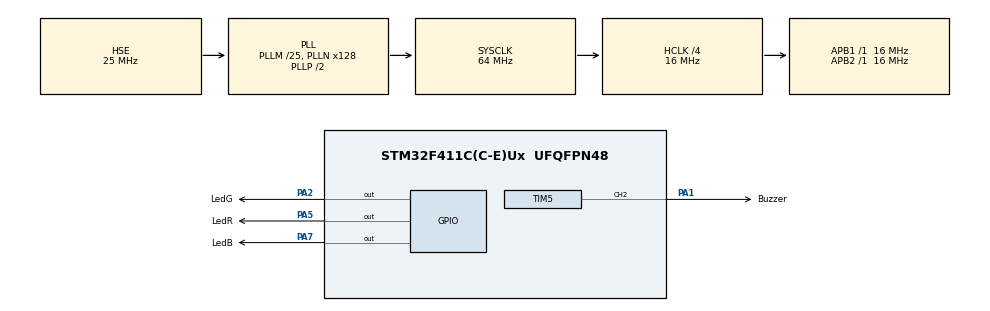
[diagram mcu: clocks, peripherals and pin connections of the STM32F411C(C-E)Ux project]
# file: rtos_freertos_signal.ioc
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FREERTOS.Events01=buzzerSignalEvent,Dynamic,NULL
FREERTOS.Tasks01=defaultTask,24,128,StartDefaultTask,Default,NULL,Dynamic,NULL,NULL;ledTask,8,128,LedTask,Default,NULL,Dynamic,NULL,NULL;buzzerTask,8,128,BuzzerTask,Default,NULL,Dynamic,NULL,NULL
FREERTOS.configUSE_NEWLIB_REENTRANT=1
Mcu.Family=STM32F4
Mcu.Name=STM32F411C(C-E)Ux
Mcu.Package=UFQFPN48
NVIC.PriorityGroup=NVIC_PRIORITYGROUP_4
NVIC.TIM2_IRQn=true\:15\:0\:false\:false\:true\:false\:false\:true\:true
NVIC.TimeBase=TIM2_IRQn
NVIC.TimeBaseIP=TIM2
PA1.GPIO_Label=Buzzer
PA1.Signal=S_TIM5_CH2
PA13.Mode=Serial_Wire
PA13.Signal=SYS_JTMS-SWDIO
PA14.Mode=Serial_Wire
PA14.Signal=SYS_JTCK-SWCLK
PA2.GPIO_Label=LedG
PA2.Signal=GPIO_Output
PA5.GPIO_Label=LedR
PA5.Signal=GPIO_Output
PA7.GPIO_Label=LedB
PA7.Signal=GPIO_Output
PH0\ -\ OSC_IN.Mode=HSE-External-Oscillator
PH0\ -\ OSC_IN.Signal=RCC_OSC_IN
PH1\ -\ OSC_OUT.Mode=HSE-External-Oscillator
PH1\ -\ OSC_OUT.Signal=RCC_OSC_OUT
ProjectManager.HeapSize=0x200
ProjectManager.StackSize=0x400
ProjectManager.TargetToolchain=STM32CubeIDE
RCC.48MHZClocksFreq_Value=32000000
RCC.AHBCLKDivider=RCC_SYSCLK_DIV4
RCC.AHBFreq_Value=16000000
RCC.APB1Freq_Value=16000000
RCC.APB1TimFreq_Value=16000000
RCC.APB2Freq_Value=16000000
RCC.APB2TimFreq_Value=16000000
RCC.CortexFreq_Value=16000000
RCC.HCLKFreq_Value=16000000
RCC.HSE_VALUE=25000000
RCC.HSI_VALUE=16000000
RCC.LSE_VALUE=32768
RCC.PLLM=25
RCC.PLLN=128
RCC.PLLSourceVirtual=RCC_PLLSOURCE_HSE
RCC.SYSCLKFreq_VALUE=64000000
RCC.SYSCLKSource=RCC_SYSCLKSOURCE_PLLCLK
RCC.VCOOutputFreq_Value=128000000
SH.S_TIM5_CH2.0=TIM5_CH2,PWM Generation2 CH2
TIM5.Channel-PWM\ Generation2\ CH2=TIM_CHANNEL_2
TIM5.Period=49
TIM5.Prescaler=1599
TIM5.Pulse-PWM\ Generation2\ CH2=25
VP_FREERTOS_VS_CMSIS_V2.Mode=CMSIS_V2
VP_SYS_VS_tim2.Mode=TIM2
board=custom

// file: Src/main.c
/* USER CODE BEGIN Header */
/**
  ******************************************************************************
  * @file           : main.c
  * @brief          : Main program body
  ******************************************************************************
  * @attention
  *
  * Copyright (c) 2026 STMicroelectronics.
  * All rights reserved.
  *
  * This software is licensed under terms that can be found in the LICENSE file
  * in the root directory of this software component.
  * If no LICENSE file comes with this software, it is provided AS-IS.
  *
  ******************************************************************************
  */
/* USER CODE END Header */
#include "main.h"
#include "cmsis_os.h"
#include "tim.h"
#include "gpio.h"

void SystemClock_Config(void);
void MX_FREERTOS_Init(void);

int main(void)
{

  /* MCU Configuration--------------------------------------------------------*/

  /* Reset of all peripherals, Initializes the Flash interface and the Systick. */
  HAL_Init();

  /* Configure the system clock */
  SystemClock_Config();

  /* Initialize all configured peripherals */
  MX_GPIO_Init();
  MX_TIM5_Init();

  /* Init scheduler */
  osKernelInitialize();  /* Call init function for freertos objects (in cmsis_os2.c) */
  MX_FREERTOS_Init();

  /* Start scheduler */
  osKernelStart();

  /* We should never get here as control is now taken by the scheduler */

  /* Infinite loop */
  while (1)
  {

  }
}

void SystemClock_Config(void)
{
  RCC_OscInitTypeDef RCC_OscInitStruct = {0};
  RCC_ClkInitTypeDef RCC_ClkInitStruct = {0};

  /** Configure the main internal regulator output voltage
  */
  __HAL_RCC_PWR_CLK_ENABLE();
  __HAL_PWR_VOLTAGESCALING_CONFIG(PWR_REGULATOR_VOLTAGE_SCALE1);

  /** Initializes the RCC Oscillators according to the specified parameters
  * in the RCC_OscInitTypeDef structure.
  */
  RCC_OscInitStruct.OscillatorType = RCC_OSCILLATORTYPE_HSE;
  RCC_OscInitStruct.HSEState = RCC_HSE_ON;
  RCC_OscInitStruct.PLL.PLLState = RCC_PLL_ON;
  RCC_OscInitStruct.PLL.PLLSource = RCC_PLLSOURCE_HSE;
  RCC_OscInitStruct.PLL.PLLM = 25;
  RCC_OscInitStruct.PLL.PLLN = 128;
  RCC_OscInitStruct.PLL.PLLP = RCC_PLLP_DIV2;
  RCC_OscInitStruct.PLL.PLLQ = 4;
  if (HAL_RCC_OscConfig(&RCC_OscInitStruct) != HAL_OK)
  {
    Error_Handler();
  }

  /** Initializes the CPU, AHB and APB buses clocks
  */
  RCC_ClkInitStruct.ClockType = RCC_CLOCKTYPE_HCLK|RCC_CLOCKTYPE_SYSCLK
                              |RCC_CLOCKTYPE_PCLK1|RCC_CLOCKTYPE_PCLK2;
  RCC_ClkInitStruct.SYSCLKSource = RCC_SYSCLKSOURCE_PLLCLK;
  RCC_ClkInitStruct.AHBCLKDivider = RCC_SYSCLK_DIV4;
  RCC_ClkInitStruct.APB1CLKDivider = RCC_HCLK_DIV1;
  RCC_ClkInitStruct.APB2CLKDivider = RCC_HCLK_DIV1;

  if (HAL_RCC_ClockConfig(&RCC_ClkInitStruct, FLASH_LATENCY_0) != HAL_OK)
  {
    Error_Handler();
  }
}

void HAL_TIM_PeriodElapsedCallback(TIM_HandleTypeDef *htim)
{
  if (htim->Instance == TIM2)
  {
    HAL_IncTick();
  }
}

void Error_Handler(void)
{
  __disable_irq();
  while (1)
  {
  }
}

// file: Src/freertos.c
/* USER CODE BEGIN Header */
/**
  ******************************************************************************
  * @file         : freertos.c
  * @brief  	  : Migração do projeto FreeRTOS (Pico - https://gitlab.unicamp.br/rtos_pico/freertos_signal)
  * 		 para a plataforma BlackPill, demonstrando o uso de Grupo de Eventos para condicionar a mudança
  * 		 de estado do Led RGB em função do bip do buzzer.
  * @author		  : Wu Shin Ting
  * @date		  : 01/04/2026
  ******************************************************************************
  * @attention
  *
  * Copyright (c) 2026 STMicroelectronics.
  * All rights reserved.
  *
  * This software is licensed under terms that can be found in the LICENSE file
  * in the root directory of this software component.
  * If no LICENSE file comes with this software, it is provided AS-IS.
  *
  ******************************************************************************
  * @details
  *
  * @section intro Introdução
  *
  * Este projeto demonstra a sincronização entre tarefas utilizando
  * **Event Flags (grupo de eventos)** do CMSIS-RTOS v2. O sistema é composto por
  * tarefas independentes que se comunicam por meio de eventos, evitando polling e
  * melhorando a eficiência do uso da CPU.
  *
  * @section eventflags Princípio de Operação – Event Flags
  *
  * Event Flags são um mecanismo de sincronização baseado em bits, onde:
  *
  * - cada bit representa um evento independente
  * - tarefas podem sinalizar eventos com:
  *      osEventFlagsSet()
  * - tarefas podem aguardar eventos com:
  *      osEventFlagsWait()
  *
  * Neste projeto, o evento @ref BUZZER_EVENT indica que o buzzer foi acionado
  * no seguinte fluxo
  * - BuzzerTask sinaliza o evento
  * - LedTask aguarda o evento (bloqueada)
  * - Ao receber, executa sua ação (troca de LED)
  *
  * Vantagens:
  * - Sincronização eficiente
  * - Baixo uso de CPU
  * - Comunicação simples entre tarefas
  *
  * @section config Configuração do Sistema
  *
  * @subsection tasks Tarefas
  * - defaultTask (osPriorityNormal)
  *   - Tarefa base do sistema com espera não-bloqueante
  *
  * - BuzzerTask (osPriorityLow)
  *   - Gera sinal PWM (200 Hz)
  *   - Ativo por 100 ms a cada 1 segundo
  *   - Sinaliza evento para sincronização
  *
  * - LedTask (osPriorityLow)
  *   - Aguarda evento do buzzer
  *   - Alterna LEDs (B → R → G)
  *
  * @subsection sync Sincronização
  *
  * - Mecanismo: Event Flags
  * - Objeto: buzzerSignalEventHandle
  * - Evento utilizado:
  *      - @ref BUZZER_EVENT
  *
  * @subsection hardware Hardware
  *
  * - TIM5 CH2 → geração de PWM (buzzer)
  * - GPIO → controle dos LEDs (Azul, Vermelho, Verde)
  *
  * @section flow Fluxo de Execução
  *
  * BuzzerTask                LedTask
  * -----------              -------------------
  * Liga buzzer
  * Aguarda 100 ms
  * Desliga buzzer
  * Sinaliza evento  ───────▶  Aguarda evento (bloqueada)
  * Aguarda 900 ms            Recebe evento
  *                           Alterna LED
  * @section notes Observações
  *
  * - A LedTask permanece bloqueada até receber evento (sem polling)
  * - O sistema é orientado a eventos (event-driven)
  * - Não há necessidade de Mutex neste caso
  *
  * - O uso de Event Flags pode ser expandido:
  *      - (1 << 1), (1 << 2), etc.
  *
  ******************************************************************************
  */
/* USER CODE END Header */

#include "FreeRTOS.h"
#include "task.h"
#include "main.h"
#include "cmsis_os.h"

/* USER CODE BEGIN Includes */
#include "main.h"
#include "tim.h"
/* USER CODE END Includes */

/* USER CODE BEGIN PD */
/**
  * @def    BUZZER_EVENT
  * @brief  Flag de evento utilizada para sinalizar a ativação do buzzer.
  *
  * @details
  * Este bit é utilizado com o mecanismo de Event Flags do CMSIS-RTOS
  * para comunicação entre tarefas.
  *
  * - Sinalizado pela BuzzerTask
  * - Aguardado pela LedTask
  *
  * Quando ativado, indica que o buzzer foi ligado e que a LedTask
  * deve alternar o estado do LED.
  */
#define BUZZER_EVENT   (1 << 0)
/* USER CODE END PD */

/* Definitions for defaultTask */
osThreadId_t defaultTaskHandle;
const osThreadAttr_t defaultTask_attributes = {
  .name = "defaultTask",
  .stack_size = 128 * 4,
  .priority = (osPriority_t) osPriorityNormal,
};
/* Definitions for ledTask */
osThreadId_t ledTaskHandle;
const osThreadAttr_t ledTask_attributes = {
  .name = "ledTask",
  .stack_size = 128 * 4,
  .priority = (osPriority_t) osPriorityLow,
};
/* Definitions for buzzerTask */
osThreadId_t buzzerTaskHandle;
const osThreadAttr_t buzzerTask_attributes = {
  .name = "buzzerTask",
  .stack_size = 128 * 4,
  .priority = (osPriority_t) osPriorityLow,
};
/* Definitions for buzzerSignalEvent */
osEventFlagsId_t buzzerSignalEventHandle;
const osEventFlagsAttr_t buzzerSignalEvent_attributes = {
  .name = "buzzerSignalEvent"
};

/* USER CODE BEGIN FunctionPrototypes */
void Buzzer_On(void);
void Buzzer_Off(void);
/* USER CODE END FunctionPrototypes */

void StartDefaultTask(void *argument);
void LedTask(void *argument);
void BuzzerTask(void *argument);

void MX_FREERTOS_Init(void); /* (MISRA C 2004 rule 8.1) */

void MX_FREERTOS_Init(void) {

  /* Create the thread(s) */
  /* creation of defaultTask */
  defaultTaskHandle = osThreadNew(StartDefaultTask, NULL, &defaultTask_attributes);

  /* creation of ledTask */
  ledTaskHandle = osThreadNew(LedTask, NULL, &ledTask_attributes);

  /* creation of buzzerTask */
  buzzerTaskHandle = osThreadNew(BuzzerTask, NULL, &buzzerTask_attributes);

  /* Create the event(s) */
  /* creation of buzzerSignalEvent */
  buzzerSignalEventHandle = osEventFlagsNew(&buzzerSignalEvent_attributes);

}

/* USER CODE BEGIN Header_StartDefaultTask */
/**
  * @brief  Tarefa padrão gerada automaticamente pelo CubeMX.
  *
  * @param  argument Ponteiro genérico (não utilizado).
  * @retval None
  *
  * @details
  * Esta tarefa é criada automaticamente pelo CubeMX com prioridade
  * padrão mais alta (osPriorityNormal). No contexto deste projeto, ela não possui
  * função lógica relevante, sendo mantida apenas para compatibilidade com a estrutura
  * gerada automaticamente.
  *
  * Para evitar interferência no comportamento das demais tarefas:
  * - Foi incluída uma chamada a osDelay()
  * - Isso faz com que a tarefa permaneça a maior parte do tempo bloqueada
  * - Reduz o impacto no escalonamento do sistema
  *
  * Dessa forma, permite que as tarefas de interesse (LedTask e BuzzerTask),
  * com mesma prioridade, definam o comportamento concorrente do sistema.
  *
  * @note Sem o osDelay(), esta tarefa poderia monopolizar a CPU devido à
  *       sua prioridade mais alta.
  */
/* USER CODE END Header_StartDefaultTask */
void StartDefaultTask(void *argument)
{
  /* USER CODE BEGIN StartDefaultTask */
  /* Loop infinito com espera não bloqueante */
  for(;;)
  {
    osDelay(10000);
  }
  /* USER CODE END StartDefaultTask */
}

/* USER CODE BEGIN Header_LedTask */
/**
* @brief Tarefa que alterna as cores do LED (B, R, G) ao receber evento do buzzer.
*
* @details
* Esta tarefa permanece bloqueada aguardando um evento sinalizado pela
* BuzzerTask. A cada evento recebido, alterna ciclicamente entre os LEDs:
* Azul → Vermelho → Verde → Azul...
*/
/* USER CODE END Header_LedTask */
void LedTask(void *argument)
{
  /* USER CODE BEGIN LedTask */

  uint8_t state = 0;

  /* Estado inicial: LED Azul ligado */
  HAL_GPIO_WritePin(LedB_GPIO_Port, LedB_Pin, GPIO_PIN_SET);
  HAL_GPIO_WritePin(LedR_GPIO_Port, LedR_Pin, GPIO_PIN_RESET);
  HAL_GPIO_WritePin(LedG_GPIO_Port, LedG_Pin, GPIO_PIN_RESET);

  for(;;)
  {
    /* Aguarda evento do buzzer */
    osEventFlagsWait(buzzerSignalEventHandle,
                     BUZZER_EVENT,
                     osFlagsWaitAny,
                     osWaitForever);

    /* Alterna estado */
    state = (state + 1) % 3;

    /* Atualiza LEDs */
    switch(state)
    {
      case 0: // Azul
        HAL_GPIO_WritePin(LedB_GPIO_Port, LedB_Pin, GPIO_PIN_SET);
        HAL_GPIO_WritePin(LedR_GPIO_Port, LedR_Pin, GPIO_PIN_RESET);
        HAL_GPIO_WritePin(LedG_GPIO_Port, LedG_Pin, GPIO_PIN_RESET);
        break;

      case 1: // Vermelho
        HAL_GPIO_WritePin(LedB_GPIO_Port, LedB_Pin, GPIO_PIN_RESET);
        HAL_GPIO_WritePin(LedR_GPIO_Port, LedR_Pin, GPIO_PIN_SET);
        HAL_GPIO_WritePin(LedG_GPIO_Port, LedG_Pin, GPIO_PIN_RESET);
        break;

      case 2: // Verde
        HAL_GPIO_WritePin(LedB_GPIO_Port, LedB_Pin, GPIO_PIN_RESET);
        HAL_GPIO_WritePin(LedR_GPIO_Port, LedR_Pin, GPIO_PIN_RESET);
        HAL_GPIO_WritePin(LedG_GPIO_Port, LedG_Pin, GPIO_PIN_SET);
        break;
    }
  }

  /* USER CODE END LedTask */
}

/**
  * @brief  Loop principal da tarefa do buzzer.
  *
  * @details
  * Este loop executa continuamente a geração de um sinal sonoro periódico
  * e sincroniza esse evento com outras tarefas do sistema.
  *
  * Funcionamento:
  * - Liga o buzzer (inicia PWM)
  * - Sinaliza um evento (BUZZER_EVENT) para notificar outras tarefas
  *   (ex: LedTask)
  * - Mantém o buzzer ativo por 100 ms
  * - Desliga o buzzer
  * - Aguarda 900 ms antes de reiniciar o ciclo
  *
  * O período total do ciclo é de aproximadamente 1 segundo.
  *
  * @note A sinalização via osEventFlagsSet permite sincronização eficiente
  *       entre tarefas sem necessidade de polling.
  */
/* USER CODE END Header_BuzzerTask */
void BuzzerTask(void *argument)
{
  /* USER CODE BEGIN BuzzerTask */
  /* Infinite loop */
  for(;;)
  {
	    Buzzer_On();
	    osDelay(100);

	    Buzzer_Off();

	    /* Sinaliza evento para o LED */
	    osEventFlagsSet(buzzerSignalEventHandle, BUZZER_EVENT);

	    osDelay(900);
  }
  /* USER CODE END BuzzerTask */
}

/* USER CODE BEGIN Application */
/**
  * @brief  Liga o buzzer iniciando o PWM no TIM5_CH2.
  *
  * @details
  * Esta função inicia a geração de sinal PWM no canal 2 do TIM5,
  * produzindo o som configurado (ex: 200 Hz).
  *
  * É necessário que o timer já esteja previamente configurado
  * (Prescaler, ARR e duty cycle).
  *
  * @note O duty cycle define o volume percebido do buzzer.
  */
void Buzzer_On(void)
{
  HAL_TIM_PWM_Start(&htim5, TIM_CHANNEL_2);
}

/**
  * @brief  Desliga o buzzer interrompendo o PWM no TIM5_CH2.
  *
  * @details
  * Esta função para a geração de PWM no canal 2 do TIM5,
  * cessando a emissão de som.
  */
void Buzzer_Off(void)
{
  HAL_TIM_PWM_Stop(&htim5, TIM_CHANNEL_2);
}

/* USER CODE END Application */
